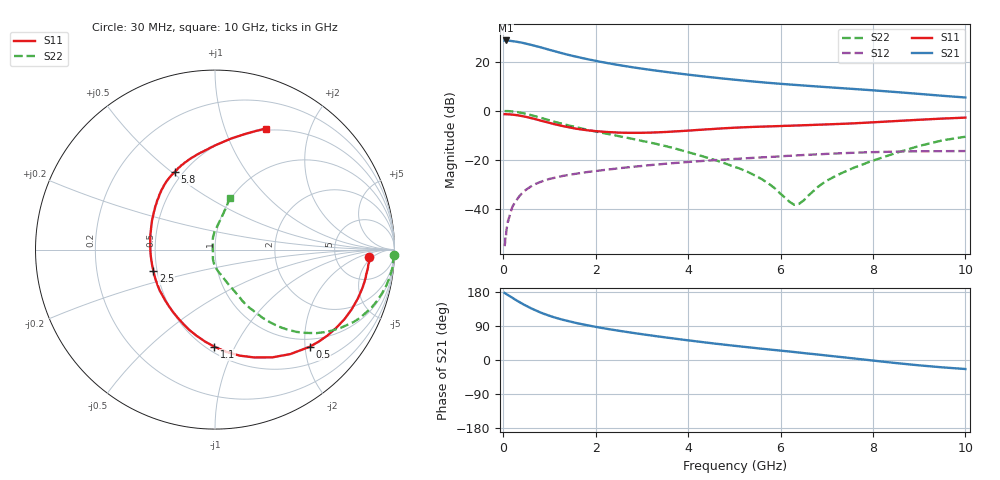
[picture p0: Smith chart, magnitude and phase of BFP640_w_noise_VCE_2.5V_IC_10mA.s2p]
! Infineon Technologies  Discrete & RF Semiconductors
! BFP640
! VCE =  2.5 V,  IC =  10 mA
! Common Emitter S-Parameters:  Apr 2013
# GHz  S  MA  R  50
!  f  S11  S21  S12  S22
! GHz  MAG  ANG  MAG  ANG  MAG  ANG  MAG  ANG
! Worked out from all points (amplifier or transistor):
!   99 points, 30 MHz to 10 GHz, reference 50 ohm
!   highest |S21| = 28.6 dB at 50 MHz (marker M1)
!   |S21| within 3 dB of that: start of sweep to 851.2 MHz
!   unconditionally stable (mu >= 1): 3.791 GHz to end of sweep
!   at 350 MHz: K = 0.16, MSG = 31.2 dB, |S12| = -34.6 dB
!   at 3.5 GHz: K = 0.98, MSG = 18.7 dB, |S12| = -21.5 dB
!   at 10 GHz: K = 1.10, MAG = 9.0 dB, |S12| = -16.3 dB
!   lowest NFmin = 0.64 dB at 450 MHz
!   S11 on the Smith chart (normalised r, x): 30 MHz: 12, -4; 500 MHz: 0.83, -2.10; 1.1 GHz: 0.54, -0.83; 2.5 GHz: 0.48, -0.13; 5.8 GHz: 0.45, +0.51; 10 GHz: 0.48, +1.39
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0.03  0.8599 -2.7  26.81 176.9  0.0018 88.3  0.9952 -1.6
0.05  0.861 -4.8  26.96 175.7  0.003 67.4  0.996 -3.0
0.14  0.85 -13.4  26.56 168.5  0.0076 84.6  0.9875 -8.3
0.3  0.8191 -28.2  25.27 156.5  0.016 77.2  0.948 -17.4
0.4  0.7889 -37.3  24.36 149.3  0.021 72.5  0.9105 -22.8
0.5  0.7563 -45.7  23.13 142.9  0.0254 68.5  0.87 -27.7
0.6  0.7176 -54.2  22 136.6  0.0294 65.0  0.8241 -32.0
0.8  0.64 -69.9  19.69 125.7  0.0361 59.1  0.7328 -39.4
0.9  0.606 -77.0  18.53 121.0  0.039 56.3  0.6871 -42.5
1.1  0.5413 -90.3  16.44 112.7  0.0438 52.5  0.6067 -47.5
1.4  0.4703 -107.6  13.83 102.9  0.05 48.3  0.5132 -52.6
1.7  0.4195 -123.8  11.9 94.6  0.0553 45.3  0.4401 -56.0
2.1  0.3834 -143.4  9.975 85.3  0.0619 42.2  0.365 -60.0
2.5  0.363 -160.9  8.549 77.2  0.0686 39.6  0.3084 -62.4
3.4  0.3702 166.1  6.415 61.4  0.0828 33.9  0.2041 -69.1
4.2  0.4109 144.0  5.185 48.9  0.0948 28.3  0.1292 -80.2
5.1  0.4611 127.0  4.222 36.2  0.1072 22.0  0.0687 -97.4
5.8  0.4873 117.5  3.681 27.2  0.1169 17.4  0.0306 -111.5
6.3  0.5057 111.8  3.386 21.0  0.1244 13.8  0.0124 -172.4
6.7  0.5206 106.6  3.183 15.8  0.1302 10.5  0.0231 123.5
8.5  0.6242 81.9  2.418 -8.1  0.1495 -5.6  0.1405 83.1
10  0.7318 67.2  1.876 -23.8  0.1535 -16.5  0.3001 74.3
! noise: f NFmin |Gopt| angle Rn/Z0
0.45  0.64  0.26  10  0.04
0.9  0.66  0.25  17  0.05
1.5  0.67  0.22  29  0.06
1.9  0.7  0.18  48  0.07
2.4  0.74  0.16  59  0.07
3.5  0.87  0.13  71  0.09
5.5  1.09  0.21  -128  0.1
10  1.66  0.58  -60  0.4
